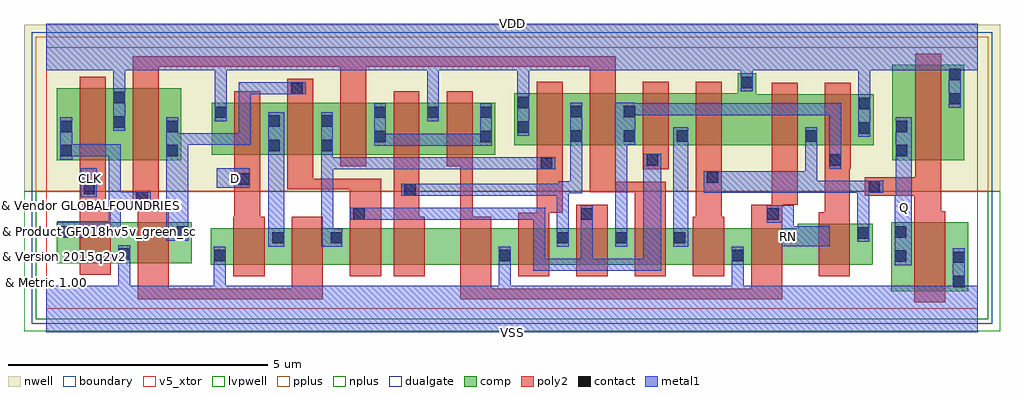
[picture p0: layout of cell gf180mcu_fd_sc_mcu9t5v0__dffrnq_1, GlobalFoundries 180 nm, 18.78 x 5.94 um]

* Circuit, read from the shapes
.subckt gf180mcu_fd_sc_mcu9t5v0__dffrnq_1 CLK D Q RN VDD VSS
XM1 VSS CLK n1 VSUBS nfet_05v0 w=0.79u l=0.6u
XM2 n2 n1 VSS VSUBS nfet_05v0 w=0.79u l=0.6u
XM3 n3 D VSS VSUBS nfet_05v0 w=0.7u l=0.6u
XM4 n4 n1 n3 VSUBS nfet_05v0 w=0.7u l=0.6u
XM5 n5 n2 n4 VSUBS nfet_05v0 w=0.7u l=0.6u
XM6 n6 n7 n5 VSUBS nfet_05v0 w=0.7u l=0.6u
XM7 VSS RN n6 VSUBS nfet_05v0 w=0.7u l=0.6u
XM8 n7 n4 VSS VSUBS nfet_05v0 w=0.7u l=0.6u
XM9 n8 n2 n7 VSUBS nfet_05v0 w=0.7u l=0.6u
XM10 n9 n1 n8 VSUBS nfet_05v0 w=0.7u l=0.6u
XM11 VSS n10 n9 VSUBS nfet_05v0 w=0.7u l=0.6u
XM12 n11 RN VSS VSUBS nfet_05v0 w=0.7u l=0.6u
XM13 n10 n8 n11 VSUBS nfet_05v0 w=0.79u l=0.6u
XM14 VSS n10 Q VSUBS nfet_05v0 w=1.32u l=0.6u
XM15 VDD CLK n1 n12 pfet_05v0 w=1.38u l=0.5u
XM16 n2 n1 VDD n12 pfet_05v0 w=1.38u l=0.5u
XM17 n3 D VDD n12 pfet_05v0 w=1u l=0.5u
XM18 n4 n2 n3 n12 pfet_05v0 w=1u l=0.5u
XM19 n13 n1 n4 n12 pfet_05v0 w=1u l=0.5u
XM20 VDD n7 n13 n12 pfet_05v0 w=1u l=0.5u
XM21 n13 RN VDD n12 pfet_05v0 w=1u l=0.5u
XM22 n7 n4 VDD n12 pfet_05v0 w=1u l=0.5u
XM23 n8 n1 n7 n12 pfet_05v0 w=1u l=0.5u
XM24 n9 n2 n8 n12 pfet_05v0 w=1u l=0.5u
XM25 VDD n10 n9 n12 pfet_05v0 w=1u l=0.5u
XM26 n10 RN VDD n12 pfet_05v0 w=0.98u l=0.5u
XM27 VDD n8 n10 n12 pfet_05v0 w=0.98u l=0.5u
XM28 VDD n10 Q n12 pfet_05v0 w=1.83u l=0.5u
.ends

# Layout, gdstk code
import gdstk
lib = gdstk.Library(unit=1e-6, precision=1e-09)
def R(c, l, rs):  # rectangles x0, y0, x1, y1
    for r in rs: c.add(gdstk.rectangle(r[:2], r[2:], *l))
def A(c, l, x, y, w, h, nx, ny, dx, dy):  # array of equal rectangles
    R(c, l, [(x+i*dx, y+j*dy, x+i*dx+w, y+j*dy+h) for i in range(nx) for j in range(ny)])
def P(c, l, *ps):  # polygons
    for p in ps: c.add(gdstk.Polygon(p, *l))
boundary = (0, 0)
nwell = (21, 0)
comp = (22, 0)
poly2 = (30, 0)
pplus = (31, 0)
nplus = (32, 0)
contact = (33, 0)
metal1 = (34, 0)
dualgate = (55, 0)
v5_xtor = (112, 1)
lvpwell = (204, 0)

gf180mcu_fd_sc_mcu9t5v0_ = lib.new_cell('gf180mcu_fd_sc_mcu9t5v0__dffrnq_1')
R(gf180mcu_fd_sc_mcu9t5v0_, boundary, [(0,0,17.92,5.04)])
R(gf180mcu_fd_sc_mcu9t5v0_, nwell, [(-0.43,2.265,18.35,5.47)])
R(gf180mcu_fd_sc_mcu9t5v0_, comp, [(16.26,0.345,17.74,1.665), (0.2,0.875,2.8,1.665), (0.2,2.865,2.6,4.245), (16.28,2.865,17.66,4.695), (3.18,2.965,8.64,3.965)])
P(gf180mcu_fd_sc_mcu9t5v0_, comp, [(3.16,0.85),(3.16,1.55),(14.46,1.55),(14.46,1.64),(15.9,1.64),(15.9,0.85)],
  [(9,3.15),(9,4.15),(13.3,4.15),(13.3,4.54),(13.66,4.54),(13.66,4.13),(15.92,4.13),(15.92,3.15)])
R(gf180mcu_fd_sc_mcu9t5v0_, poly2, [(10.2,0.63,10.8,2.01), (11.48,2.69,11.98,4.37)])
P(gf180mcu_fd_sc_mcu9t5v0_, poly2, [(0.64,0.655),(0.64,4.465),(1.14,4.465),(1.14,1.885),(1.24,1.885),(1.24,0.655)],
  [(3.6,0.63),(3.6,1.77),(3.62,1.77),(3.62,4.185),(4.12,4.185),(4.12,1.77),(4.2,1.77),(4.2,0.63)],
  [(5.84,0.63),(5.84,2.305),(4.64,2.305),(4.64,4.425),(5.14,4.425),(5.14,2.505),(6.44,2.505),(6.44,0.63)],
  [(6.68,0.63),(6.68,4.185),(7.18,4.185),(7.18,1.77),(7.28,1.77),(7.28,0.63)],
  [(9.08,0.63),(9.08,1.85),(9.44,1.85),(9.44,4.37),(9.94,4.37),(9.94,1.85),(9.68,1.85),(9.68,0.63)],
  [(1.76,0.19),(1.76,1.965),(1.66,1.965),(1.66,4.865),(10.96,4.865),(10.96,2.45),(11.92,2.45),(11.92,0.63),(11.32,0.63),(11.32,2.25),(10.46,2.25),(10.46,4.665),(6.16,4.665),(6.16,2.745),(5.66,2.745),(5.66,4.665),(2.16,4.665),(2.16,1.965),(2.36,1.965),(2.36,0.39),(4.72,0.39),(4.72,1.77),(5.32,1.77),(5.32,0.19)],
  [(12.44,0.63),(12.44,1.77),(12.5,1.77),(12.5,4.37),(13,4.37),(13,1.77),(13.04,1.77),(13.04,0.63)],
  [(7.96,0.19),(7.96,2.745),(7.7,2.745),(7.7,4.185),(8.2,4.185),(8.2,1.77),(8.56,1.77),(8.56,0.39),(13.56,0.39),(13.56,2.01),(13.96,2.01),(13.96,4.35),(14.46,4.35),(14.46,2.01),(14.16,2.01),(14.16,0.19)],
  [(14.86,0.63),(14.86,1.86),(14.98,1.86),(14.98,4.35),(15.48,4.35),(15.48,2.695),(15.46,2.695),(15.46,0.63)],
  [(16.7,0.125),(16.7,2.175),(15.75,2.175),(15.75,2.535),(16.72,2.535),(16.72,4.915),(17.22,4.915),(17.22,1.885),(17.3,1.885),(17.3,0.125)])
R(gf180mcu_fd_sc_mcu9t5v0_, pplus, [(-0.2,2.265,18.12,5.24)])
R(gf180mcu_fd_sc_mcu9t5v0_, nplus, [(-0.2,-0.2,18.12,2.265)])
A(gf180mcu_fd_sc_mcu9t5v0_, contact, 9.83, 1.26, 0.22, 0.22, 3, 1, 1.12, 0)
A(gf180mcu_fd_sc_mcu9t5v0_, contact, 10.09, 3.22, 0.22, 0.22, 3, 1, 1.02, 0)
A(gf180mcu_fd_sc_mcu9t5v0_, contact, 6.31, 3.675, 0.22, 0.22, 3, 1, 1.02, 0)
R(gf180mcu_fd_sc_mcu9t5v0_, contact, [(17.45,0.415,17.67,0.635), (17.45,0.885,17.67,1.105), (16.33,0.905,16.55,1.125), (3.23,0.92,3.45,1.14), (8.71,0.92,8.93,1.14), (13.19,0.92,13.41,1.14), (1.39,0.945,1.61,1.165), (4.35,1.26,4.57,1.48), (5.47,1.26,5.69,1.48), (15.61,1.35,15.83,1.57), (0.27,1.375,0.49,1.595), (2.51,1.375,2.73,1.595), (16.33,1.375,16.55,1.595), (5.91,1.72,6.13,1.94), (10.29,1.72,10.51,1.94), (13.87,1.72,14.09,1.94), (1.73,2.035,1.95,2.255), (6.89,2.18,7.11,2.4), (0.715,2.21,0.935,2.43), (15.82,2.245,16.04,2.465), (3.69,2.39,3.91,2.61), (12.71,2.425,12.93,2.645), (9.51,2.69,9.73,2.91), (11.55,2.76,11.77,2.98), (15.07,2.76,15.29,2.98), (0.27,2.935,0.49,3.155), (2.31,2.935,2.53,3.155), (16.35,2.935,16.57,3.155), (4.27,3.035,4.49,3.255), (5.29,3.035,5.51,3.255), (6.31,3.205,6.53,3.425), (8.35,3.205,8.57,3.425), (14.61,3.22,14.83,3.44), (15.63,3.37,15.85,3.59), (9.07,3.39,9.29,3.61), (0.27,3.405,0.49,3.625), (2.31,3.405,2.53,3.625), (16.35,3.405,16.57,3.625), (1.29,3.485,1.51,3.705), (4.27,3.505,4.49,3.725), (5.29,3.505,5.51,3.725), (3.25,3.675,3.47,3.895), (10.09,3.69,10.31,3.91), (11.11,3.69,11.33,3.91), (15.63,3.84,15.85,4.06), (9.07,3.86,9.29,4.08), (17.37,3.935,17.59,4.155), (1.29,3.955,1.51,4.175), (4.71,4.135,4.93,4.355), (13.37,4.25,13.59,4.47), (17.37,4.405,17.59,4.625)])
R(gf180mcu_fd_sc_mcu9t5v0_, metal1, [(4.265,1.2,4.575,3.785), (12.065,1.2,12.355,3.5), (0.66,2.15,0.97,2.71), (3.28,2.33,3.915,2.71)])
P(gf180mcu_fd_sc_mcu9t5v0_, metal1, [(0.21,1.37),(0.21,1.685),(1.2,1.685),(1.2,2.94),(0.495,2.94),(0.495,2.875),(0.265,2.875),(0.265,3.685),(0.495,3.685),(0.495,3.17),(1.43,3.17),(1.43,2.26),(2.01,2.26),(2.01,2.03),(1.43,2.03),(1.43,1.455),(1.085,1.455),(1.085,1.37)],
  [(2.305,1.315),(2.305,3.685),(2.535,3.685),(2.535,3.385),(3.705,3.385),(3.705,4.36),(4.99,4.36),(4.99,4.13),(3.935,4.13),(3.935,3.155),(2.735,3.155),(2.735,1.315)],
  [(6.305,3.145),(6.305,3.955),(6.535,3.955),(6.535,3.375),(8.345,3.375),(8.345,3.955),(8.575,3.955),(8.575,3.145)],
  [(5.285,1.2),(5.285,3.785),(5.515,3.785),(5.515,2.915),(9.79,2.915),(9.79,2.685),(5.52,2.685),(5.52,1.54),(5.695,1.54),(5.695,1.2)],
  [(9.825,1.2),(9.825,2.175),(6.83,2.175),(6.83,2.405),(9.855,2.405),(9.855,2.46),(10.085,2.46),(10.085,3.97),(10.315,3.97),(10.315,2.23),(10.055,2.23),(10.055,1.2)],
  [(9.365,0.74),(9.365,1.715),(5.85,1.715),(5.85,1.945),(9.595,1.945),(9.595,0.97),(10.285,0.97),(10.285,2),(10.515,2),(10.515,0.97),(11.485,0.97),(11.485,2.985),(11.83,2.985),(11.83,0.74)],
  [(14.15,1.21),(14.15,1.66),(13.865,1.66),(13.865,2),(14.38,2),(14.38,1.59),(15.07,1.59),(15.07,1.21)],
  [(10.945,1.2),(10.945,3.97),(11.335,3.97),(11.335,3.96),(15.295,3.96),(15.295,2.7),(15.065,2.7),(15.065,3.73),(11.335,3.73),(11.335,3.16),(11.175,3.16),(11.175,1.2)],
  [(15.605,1.29),(15.605,2.24),(12.65,2.24),(12.65,2.65),(14.605,2.65),(14.605,3.5),(14.835,3.5),(14.835,2.47),(16.1,2.47),(16.1,2.24),(15.835,2.24),(15.835,1.29)],
  [(16.325,0.845),(16.325,2.19),(16.345,2.19),(16.345,3.685),(16.65,3.685),(16.65,0.845)],
  [(0,-0.45),(0,0.45),(1.385,0.45),(1.385,1.225),(1.615,1.225),(1.615,0.45),(3.225,0.45),(3.225,1.2),(3.455,1.2),(3.455,0.45),(8.705,0.45),(8.705,1.2),(8.935,1.2),(8.935,0.45),(13.185,0.45),(13.185,1.2),(13.415,1.2),(13.415,0.45),(17.445,0.45),(17.445,1.165),(17.675,1.165),(17.675,0.45),(17.92,0.45),(17.92,-0.45)],
  [(15.625,3.31),(15.625,4.59),(13.595,4.59),(13.595,4.19),(13.365,4.19),(13.365,4.59),(9.295,4.59),(9.295,3.33),(9.065,3.33),(9.065,4.59),(7.555,4.59),(7.555,3.615),(7.325,3.615),(7.325,4.59),(3.475,4.59),(3.475,3.615),(3.245,3.615),(3.245,4.59),(1.515,4.59),(1.515,3.425),(1.285,3.425),(1.285,4.59),(0,4.59),(0,5.49),(17.92,5.49),(17.92,4.59),(17.595,4.59),(17.595,3.875),(17.365,3.875),(17.365,4.59),(15.855,4.59),(15.855,3.31)])
R(gf180mcu_fd_sc_mcu9t5v0_, dualgate, [(-0.28,-0.28,18.2,5.32)])
R(gf180mcu_fd_sc_mcu9t5v0_, v5_xtor, [(0,0,17.92,5.04)])
R(gf180mcu_fd_sc_mcu9t5v0_, lvpwell, [(-0.43,-0.43,18.35,2.265)])
gf180mcu_fd_sc_mcu9t5v0_.add(gdstk.Label('CLK', (0.84,2.52), layer=34, texttype=10))
gf180mcu_fd_sc_mcu9t5v0_.add(gdstk.Label('D', (3.64,2.52), layer=34, texttype=10))
gf180mcu_fd_sc_mcu9t5v0_.add(gdstk.Label('Q', (16.52,1.96), layer=34, texttype=10))
gf180mcu_fd_sc_mcu9t5v0_.add(gdstk.Label('RN', (14.28,1.4), layer=34, texttype=10))
gf180mcu_fd_sc_mcu9t5v0_.add(gdstk.Label('VDD', (8.96,5.49), layer=34, texttype=10))
gf180mcu_fd_sc_mcu9t5v0_.add(gdstk.Label('VSS', (8.96,-0.45), layer=34, texttype=10))
gf180mcu_fd_sc_mcu9t5v0_.add(gdstk.Label('& Vendor GLOBALFOUNDRIES', (0,2), layer=63, texttype=63))
gf180mcu_fd_sc_mcu9t5v0_.add(gdstk.Label('& Product GF018hv5v_green_sc9', (0,1.5), layer=63, texttype=63))
gf180mcu_fd_sc_mcu9t5v0_.add(gdstk.Label('& Version 2015q2v2', (0,1), layer=63, texttype=63))
gf180mcu_fd_sc_mcu9t5v0_.add(gdstk.Label('& Metric 1.00', (0,0.5), layer=63, texttype=63))

lib.write_gds('gf180mcu_fd_sc_mcu9t5v0__dffrnq_1.gds')
